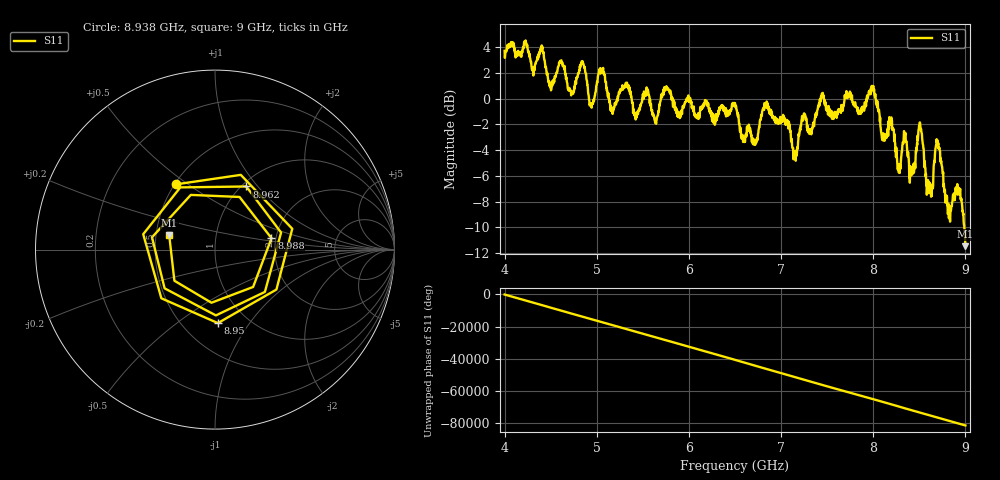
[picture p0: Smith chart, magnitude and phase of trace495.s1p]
! Created with skrf 1.8.0 (http://scikit-rf.org).
# Hz S RI R 50.0
!freq ReS11 ImS11
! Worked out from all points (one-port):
!   1601 points, 4 GHz to 9 GHz, reference 50 ohm
!   lowest |S11| = -11.5 dB at 9 GHz (marker M1), VSWR 1.73, Z = 29.4 + j5.02 ohm
!   |S11| at or under -10 dB: 8.988592 GHz to end of sweep
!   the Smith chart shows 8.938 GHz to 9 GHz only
!   S11 on the Smith chart (normalised r, x): 8.938 GHz: 0.51, +0.45; 8.95 GHz: 0.73, -0.72; 8.962 GHz: 1.05, +0.87; 8.988 GHz: 1.89, +0.27; 9 GHz: 0.59, +0.10
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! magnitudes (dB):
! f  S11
! 4 GHz  3.7
! 4.5 GHz  1.2
! 4.625 GHz  2.8
! 4.728 GHz  0.4
! 4.847 GHz  2.8
! 4.941 GHz  -0.6
! 5.044 GHz  2.3
! 5.162 GHz  -0.7
! 5.25 GHz  0.6
! 5.875 GHz  -1.4
! 6.5 GHz  -0.3
! 6.591 GHz  -3.1
! 6.844 GHz  -0.2
! 7.125 GHz  -3.9
! 7.75 GHz  0.4
! 8 GHz  1.0
! 8.106 GHz  -3.2
! 8.375 GHz  -4.5
! 8.422 GHz  -5.9
! 8.506 GHz  -1.8
! 8.603 GHz  -7.3
! 8.7 GHz  -3.5
! 8.809 GHz  -9.0
! 8.938 GHz  -7.5
! 8.95 GHz  -7.8
! 8.962 GHz  -8.1
! 8.988 GHz  -9.9
! 9 GHz  -11.5
